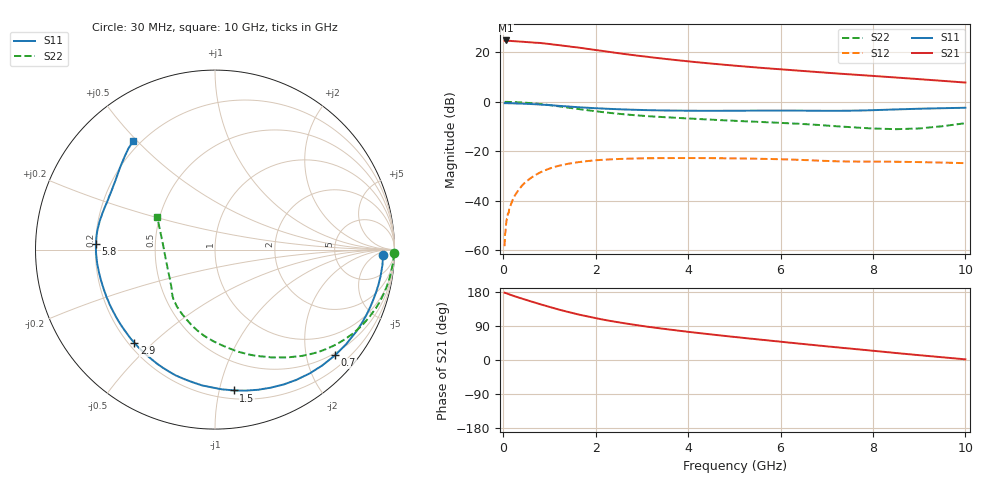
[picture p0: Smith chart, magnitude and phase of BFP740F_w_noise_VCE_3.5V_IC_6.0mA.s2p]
! Infineon Technologies  Discrete & RF Semiconductors
! BFP740F
! VCE =  3.5 V,  IC =  6.0 mA
! Common Emitter S-Parameters:  Oct 2012
# GHz  S  MA  R  50
!  f  S11  S21  S12  S22
! GHz  MAG  ANG  MAG  ANG  MAG  ANG  MAG  ANG
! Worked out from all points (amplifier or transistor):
!   99 points, 30 MHz to 10 GHz, reference 50 ohm
!   highest |S21| = 24.8 dB at 50 MHz (marker M1)
!   |S21| within 3 dB of that: start of sweep to 1.676 GHz
!   unconditionally stable (mu >= 1): 7.233 GHz to end of sweep
!   at 350 MHz: K = 0.06, MSG = 29.8 dB, |S12| = -35.2 dB
!   at 3.5 GHz: K = 0.37, MSG = 20.1 dB, |S12| = -22.8 dB
!   at 10 GHz: K = 1.30, MAG = 13.0 dB, |S12| = -24.8 dB
!   lowest NFmin = 0.39 dB at 450 MHz
!   S11 on the Smith chart (normalised r, x): 30 MHz: 25, -12; 700 MHz: 0.45, -2.58; 1.5 GHz: 0.26, -1.11; 2.9 GHz: 0.22, -0.44; 5.8 GHz: 0.20, +0.02; 10 GHz: 0.17, +0.49
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0.03  0.9376 -1.8  17.27 177.6  0.0012 83.4  0.9952 -1.2
0.05  0.9374 -3.0  17.42 176.9  0.0024 73.3  0.996 -2.0
0.13  0.9345 -8.0  17.16 173.2  0.0069 81.9  0.9923 -5.3
0.3  0.9245 -18.2  16.65 166.1  0.0149 79.4  0.9792 -12.0
0.45  0.9142 -27.0  16.32 160.3  0.0222 73.6  0.9623 -17.8
0.7  0.8915 -41.3  15.65 151.0  0.0332 65.3  0.9218 -27.3
0.8  0.8794 -47.3  15.5 147.2  0.0372 62.0  0.9019 -30.9
1  0.8557 -58.0  14.77 140.1  0.0445 55.5  0.8582 -38.0
1.2  0.8291 -68.2  14.02 133.2  0.0507 49.7  0.811 -44.7
1.5  0.7916 -82.4  12.9 124.0  0.0577 41.9  0.741 -53.7
1.7  0.7675 -91.5  12.24 118.2  0.0612 37.5  0.6984 -59.3
2.1  0.7347 -107.2  10.85 108.0  0.0666 29.4  0.6266 -70.1
2.3  0.7194 -113.9  10.21 103.5  0.0683 26.0  0.5967 -74.8
2.6  0.701 -122.7  9.331 97.4  0.0702 21.6  0.5606 -80.9
2.9  0.6867 -130.9  8.593 91.8  0.0714 17.8  0.531 -86.6
3.4  0.67 -142.7  7.569 83.4  0.0725 12.4  0.4948 -94.7
4.1  0.6597 -156.4  6.451 73.0  0.0727 6.5  0.4547 -103.7
5.1  0.6608 -173.1  5.297 59.6  0.0714 -0.3  0.4084 -115.4
5.8  0.6637 177.1  4.695 50.8  0.0696 -4.3  0.383 -123.4
6.7  0.6595 163.6  4.063 39.7  0.0652 -8.2  0.345 -133.6
8.5  0.7009 138.8  3.099 18.4  0.0612 -9.1  0.2794 -168.3
10  0.7573 126.9  2.45 1.7  0.0574 -11.0  0.3689 150.6
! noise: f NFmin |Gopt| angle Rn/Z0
0.45  0.39  0.32  6  0.21
0.9  0.44  0.32  12  0.18
1.5  0.51  0.32  24  0.14
1.9  0.55  0.31  32  0.13
2.4  0.62  0.3  41  0.12
3.5  0.75  0.27  66  0.11
5.5  0.99  0.17  113  0.19
10  1.49  0.4  -125  0.07
